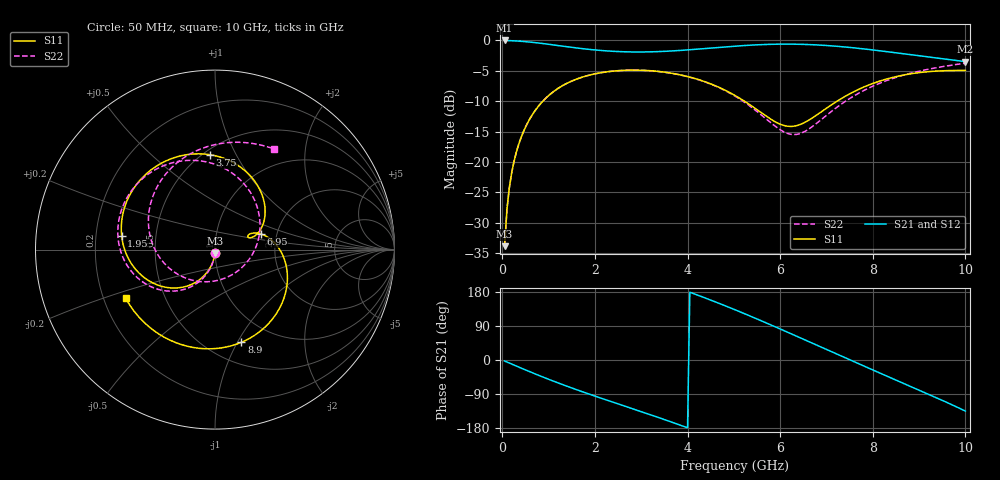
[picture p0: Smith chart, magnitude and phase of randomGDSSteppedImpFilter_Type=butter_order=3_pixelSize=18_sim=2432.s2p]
! freq	dB(S11)	phase(S11)	dB(S12)	phase(S12)
!  dB(S21)	phase(S21)	dB(S22)	phase(S22)
!S-par simulation data
#  GHz  S  DB  R 50
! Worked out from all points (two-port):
!   200 points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, 50 MHz to 10 GHz, reference 50 ohm
!   highest |S21| = -0.01 dB at 50 MHz (marker M1); lowest = -3.5 dB at 10 GHz (marker M2)
!   |S21| within 3 dB of the highest: start of sweep to 9.519 GHz
!   lowest |S11| = -33.9 dB at 50 MHz (marker M3), VSWR 1.04, Z = 49.9 - j2.02 ohm
!   |S11| at or under -10 dB: start of sweep to 875.2 MHz; 5.228 GHz to 7.229 GHz (2.001 GHz wide, 32.1 % of centre)
!   |S22| runs from -33.9 to -3.7 dB; largest |S21 - S12| = 0
!   S11 on the Smith chart (normalised r, x): 50 MHz: 1.00, -0.04; 1.95 GHz: 0.31, +0.07; 3.75 GHz: 0.54, +0.79; 6.95 GHz: 1.64, +0.31; 8.9 GHz: 0.72, -1.04; 10 GHz: 0.29, -0.23
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0.05  -33.86 -92.9  -0.01 -2.7  -0.01 -2.7  -33.86 -92.7
0.1  -27.86 -95.8  -0.02 -5.3  -0.02 -5.3  -27.86 -95.4
0.2  -21.90 -101.6  -0.05 -10.6  -0.05 -10.6  -21.90 -100.6
0.5  -14.28 -117.9  -0.20 -26.1  -0.20 -26.1  -14.28 -115.6
1.1  -8.45 -148.7  -0.74 -55.6  -0.74 -55.6  -8.45 -143.6
1.75  -5.99 -179.4  -1.37 -84.7  -1.37 -84.7  -5.99 -171.1
1.95  -5.58 171.6  -1.53 -93.1  -1.53 -93.1  -5.58 -179.1
2.6  -4.93 143.2  -1.86 -119.9  -1.86 -119.9  -4.93 155.9
3.4  -5.13 108.4  -1.83 -152.9  -1.83 -152.9  -5.14 125.1
3.75  -5.53 92.9  -1.69 -167.9  -1.69 -167.9  -5.54 110.9
4.45  -7.00 61.7  -1.29 160.5  -1.29 160.5  -7.04 80.0
5.05  -9.17 36.6  -0.93 131.3  -0.93 131.3  -9.27 48.5
5.5  -11.40 22.6  -0.72 108.4  -0.72 108.4  -11.69 18.6
5.9  -13.42 18.2  -0.62 87.3  -0.62 87.3  -14.16 -17.5
6.3  -14.11 22.3  -0.62 65.8  -0.62 65.8  -15.50 -66.2
6.7  -12.73 23.4  -0.71 44.1  -0.71 44.1  -14.15 -114.8
6.95  -11.42 19.0  -0.81 30.5  -0.81 30.5  -12.64 -138.9
7.6  -8.40 -5.1  -1.23 -4.7  -1.23 -4.7  -9.11 174.5
8.35  -6.24 -43.0  -1.89 -44.8  -1.89 -44.8  -6.47 132.9
8.9  -5.40 -74.1  -2.42 -74.0  -2.42 -74.0  -5.24 106.2
9.45  -5.02 -109.2  -2.94 -103.6  -2.94 -103.6  -4.39 81.7
10  -4.92 -151.5  -3.49 -134.8  -3.49 -134.8  -3.74 59.6
